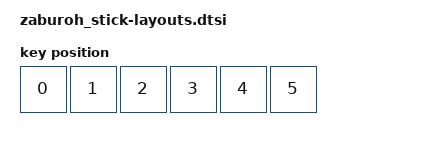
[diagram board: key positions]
// See https://zmk.dev/docs/development/hardware-integration/physical-layouts
// for how to configure this.

#include <physical_layouts.dtsi>

/ {
    default_layout: default_layout {
        compatible = "zmk,physical-layout";
        display-name = "Default Layout";
        transform = <&default_transform>;
        kscan = <&kscan>;

        // Edit this to define the positions and sizes of the keys, or remove it
        // if your keyboard will not support ZMK Studio.
        // https://zmk.dev/docs/development/hardware-integration/physical-layouts#optional-keys-property
        // You can use the physical layout converter tool to help generate this:
        // https://zmk-physical-layout-converter.streamlit.app/
        keys  //                     w   h    x    y     rot    rx    ry
            = <&key_physical_attrs 100 100    0    0       0     0     0>
            , <&key_physical_attrs 100 100  100    0       0     0     0>
            , <&key_physical_attrs 100 100  200    0       0     0     0>
            , <&key_physical_attrs 100 100  300    0       0     0     0>
            , <&key_physical_attrs 100 100  400    0       0     0     0>
            , <&key_physical_attrs 100 100  500    0       0     0     0>
            ;
    };
};
